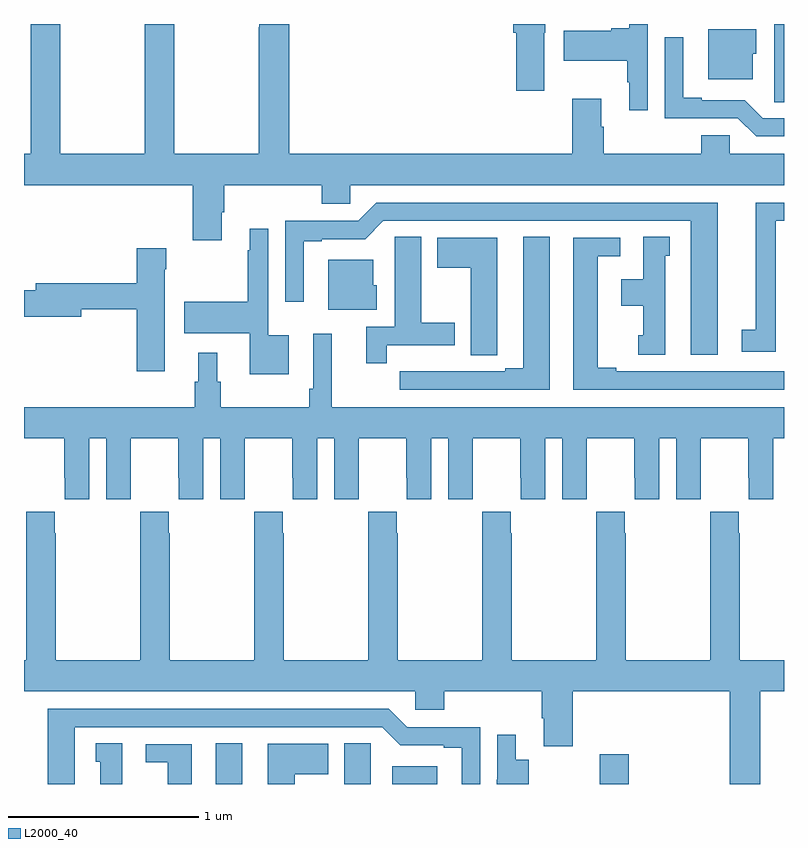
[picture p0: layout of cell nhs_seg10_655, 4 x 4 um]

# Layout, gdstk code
import gdstk
lib = gdstk.Library(unit=1e-6, precision=1e-09)
def R(c, l, rs):  # rectangles x0, y0, x1, y1
    for r in rs: c.add(gdstk.rectangle(r[:2], r[2:], *l))
def P(c, l, *ps):  # polygons
    for p in ps: c.add(gdstk.Polygon(p, *l))
L2000_40 = (2000, 40)

nhs_seg10_655 = lib.new_cell('nhs_seg10_655')
R(nhs_seg10_655, L2000_40, [(144.008,1294.5,144.148,1294.715), (144.938,1294.5,145.174,1294.594), (146.029,1294.5,146.183,1294.657)])
P(nhs_seg10_655, L2000_40, [(145.738,1298.454),(145.744,1298.454),(145.744,1298.5),(145.574,1298.5),(145.574,1298.454),(145.592,1298.454),(145.592,1298.148),(145.738,1298.148)],
  [(144.04,1297.51),(144.053,1297.51),(144.053,1297.652),(144.566,1297.652),(144.566,1297.554),(144.717,1297.554),(144.717,1297.652),(147,1297.652),(147,1297.816),(146.715,1297.816),(146.715,1297.914),(146.564,1297.914),(146.564,1297.816),(146.051,1297.816),(146.051,1297.958),(146.038,1297.958),(146.038,1298.107),(145.886,1298.107),(145.886,1297.816),(144.395,1297.816),(144.395,1298.5),(144.239,1298.5),(144.239,1298.483),(144.235,1298.483),(144.235,1297.816),(143.79,1297.816),(143.79,1298.5),(143.635,1298.5),(143.635,1297.816),(143.19,1297.816),(143.19,1298.5),(143.035,1298.5),(143.035,1297.816),(143,1297.816),(143,1297.652),(143.888,1297.652),(143.888,1297.362),(144.04,1297.362)],
  [(146.283,1298.5),(146.186,1298.5),(146.186,1298.477),(146.09,1298.477),(146.09,1298.464),(145.842,1298.464),(145.842,1298.306),(146.175,1298.306),(146.175,1298.194),(146.186,1298.194),(146.186,1298.046),(146.283,1298.046)],
  [(147,1298.5),(146.948,1298.5),(146.948,1298.2),(146.949,1298.2),(146.949,1298.089),(147,1298.089)],
  [(146.836,1298.343),(146.854,1298.343),(146.854,1298.473),(146.6,1298.473),(146.6,1298.21),(146.836,1298.21)],
  [(147,1298.004),(146.889,1298.004),(146.793,1298.1),(146.566,1298.1),(146.566,1298.113),(146.47,1298.113),(146.47,1298.431),(146.373,1298.431),(146.373,1298.004),(146.757,1298.004),(146.853,1297.908),(147,1297.908)],
  [(146.956,1297.464),(147,1297.464),(147,1297.56),(146.852,1297.56),(146.852,1296.89),(146.778,1296.89),(146.778,1296.774),(146.956,1296.774)],
  [(146.65,1297.56),(144.855,1297.56),(144.759,1297.464),(144.375,1297.464),(144.375,1297.038),(144.472,1297.038),(144.472,1297.356),(144.568,1297.356),(144.568,1297.368),(144.795,1297.368),(144.891,1297.464),(146.51,1297.464),(146.51,1296.759),(146.65,1296.759)],
  [(144.394,1296.862),(144.285,1296.862),(144.285,1297.423),(144.188,1297.423),(144.188,1297.31),(144.177,1297.31),(144.177,1297.038),(143.844,1297.038),(143.844,1296.872),(144.188,1296.872),(144.188,1296.656),(144.394,1296.656)],
  [(145.768,1297.379),(145.628,1297.379),(145.628,1296.687),(145.532,1296.687),(145.532,1296.672),(145.256,1296.672),(145.256,1296.673),(145.09,1296.673),(145.09,1296.672),(144.978,1296.672),(144.978,1296.576),(145.768,1296.576)],
  [(146.374,1297.281),(146.398,1297.281),(146.398,1297.379),(146.258,1297.379),(146.258,1297.156),(146.144,1297.156),(146.144,1297.016),(146.258,1297.016),(146.258,1296.861),(146.234,1296.861),(146.234,1296.759),(146.374,1296.759)],
  [(144.908,1296.81),(145.267,1296.81),(145.267,1296.927),(145.09,1296.927),(145.09,1297.379),(144.951,1297.379),(144.951,1297.268),(144.95,1297.268),(144.95,1296.906),(144.8,1296.906),(144.8,1296.714),(144.908,1296.714)],
  [(145.491,1296.865),(145.492,1296.865),(145.492,1297.375),(145.175,1297.375),(145.175,1297.216),(145.352,1297.216),(145.352,1296.757),(145.491,1296.757)],
  [(147,1296.672),(146.116,1296.672),(146.116,1296.692),(146.02,1296.692),(146.02,1297.278),(146.137,1297.278),(146.137,1297.374),(145.892,1297.374),(145.892,1296.576),(147,1296.576)],
  [(143.74,1297.208),(143.748,1297.208),(143.748,1297.321),(143.594,1297.321),(143.594,1297.136),(143.063,1297.136),(143.063,1297.1),(143,1297.1),(143,1296.958),(143.302,1296.958),(143.302,1297),(143.594,1297),(143.594,1296.672),(143.74,1296.672)],
  [(144.856,1297.125),(144.838,1297.125),(144.838,1297.258),(144.602,1297.258),(144.602,1296.995),(144.856,1296.995)],
  [(143.344,1296.32),(143.432,1296.32),(143.432,1296),(143.562,1296),(143.562,1296.112),(143.563,1296.112),(143.563,1296.32),(143.813,1296.32),(143.813,1296.112),(143.814,1296.112),(143.814,1296),(143.944,1296),(143.944,1296.32),(144.032,1296.32),(144.032,1296),(144.162,1296),(144.162,1296.112),(144.163,1296.112),(144.163,1296.32),(144.413,1296.32),(144.413,1296.112),(144.414,1296.112),(144.414,1296),(144.544,1296),(144.544,1296.32),(144.632,1296.32),(144.632,1296),(144.762,1296),(144.762,1296.112),(144.763,1296.112),(144.763,1296.32),(145.013,1296.32),(145.013,1296.112),(145.014,1296.112),(145.014,1296),(145.144,1296),(145.144,1296.32),(145.232,1296.32),(145.232,1296),(145.362,1296),(145.362,1296.112),(145.363,1296.112),(145.363,1296.32),(145.613,1296.32),(145.613,1296.112),(145.614,1296.112),(145.614,1296),(145.744,1296),(145.744,1296.32),(145.832,1296.32),(145.832,1296),(145.962,1296),(145.962,1296.112),(145.963,1296.112),(145.963,1296.32),(146.213,1296.32),(146.213,1296.112),(146.214,1296.112),(146.214,1296),(146.344,1296),(146.344,1296.32),(146.432,1296.32),(146.432,1296),(146.562,1296),(146.562,1296.112),(146.563,1296.112),(146.563,1296.32),(146.813,1296.32),(146.813,1296.112),(146.814,1296.112),(146.814,1296),(146.944,1296),(146.944,1296.32),(147,1296.32),(147,1296.484),(144.62,1296.484),(144.62,1296.871),(144.522,1296.871),(144.522,1296.58),(144.502,1296.58),(144.502,1296.484),(144.035,1296.484),(144.035,1296.618),(144.016,1296.618),(144.016,1296.769),(143.918,1296.769),(143.918,1296.618),(143.899,1296.618),(143.899,1296.484),(143,1296.484),(143,1296.32),(143.213,1296.32),(143.213,1296.112),(143.214,1296.112),(143.214,1296),(143.344,1296)],
  [(146.874,1294.988),(147,1294.988),(147,1295.152),(146.766,1295.152),(146.766,1295.819),(146.763,1295.819),(146.763,1295.932),(146.613,1295.932),(146.613,1295.819),(146.611,1295.819),(146.611,1295.152),(146.166,1295.152),(146.166,1295.819),(146.163,1295.819),(146.163,1295.932),(146.013,1295.932),(146.013,1295.819),(146.011,1295.819),(146.011,1295.152),(145.566,1295.152),(145.566,1295.819),(145.563,1295.819),(145.563,1295.932),(145.413,1295.932),(145.413,1295.819),(145.411,1295.819),(145.411,1295.152),(144.966,1295.152),(144.966,1295.819),(144.963,1295.819),(144.963,1295.932),(144.813,1295.932),(144.813,1295.819),(144.811,1295.819),(144.811,1295.152),(144.366,1295.152),(144.366,1295.819),(144.363,1295.819),(144.363,1295.932),(144.213,1295.932),(144.213,1295.819),(144.211,1295.819),(144.211,1295.152),(143.766,1295.152),(143.766,1295.819),(143.763,1295.819),(143.763,1295.932),(143.613,1295.932),(143.613,1295.819),(143.611,1295.819),(143.611,1295.152),(143.166,1295.152),(143.166,1295.819),(143.163,1295.819),(143.163,1295.932),(143.013,1295.932),(143.013,1295.819),(143.011,1295.819),(143.011,1295.152),(143,1295.152),(143,1294.988),(145.059,1294.988),(145.059,1294.89),(145.211,1294.89),(145.211,1294.988),(145.724,1294.988),(145.724,1294.846),(145.736,1294.846),(145.736,1294.698),(145.889,1294.698),(145.889,1294.988),(146.714,1294.988),(146.714,1294.5),(146.874,1294.5)],
  [(143.266,1294.8),(144.885,1294.8),(144.981,1294.704),(145.208,1294.704),(145.208,1294.692),(145.304,1294.692),(145.304,1294.5),(145.401,1294.5),(145.401,1294.8),(145.017,1294.8),(144.921,1294.896),(143.126,1294.896),(143.126,1294.5),(143.266,1294.5)],
  [(145.656,1294.627),(145.588,1294.627),(145.588,1294.759),(145.49,1294.759),(145.49,1294.523),(145.489,1294.523),(145.489,1294.5),(145.656,1294.5)],
  [(143.518,1294.715),(143.378,1294.715),(143.378,1294.617),(143.402,1294.617),(143.402,1294.5),(143.518,1294.5)],
  [(144.826,1294.604),(144.825,1294.604),(144.825,1294.715),(144.686,1294.715),(144.686,1294.5),(144.826,1294.5)],
  [(144.424,1294.552),(144.601,1294.552),(144.601,1294.711),(144.284,1294.711),(144.284,1294.5),(144.424,1294.5)],
  [(143.884,1294.71),(143.64,1294.71),(143.64,1294.614),(143.756,1294.614),(143.756,1294.5),(143.884,1294.5)])

lib.write_gds('nhs_seg10_655.gds')
